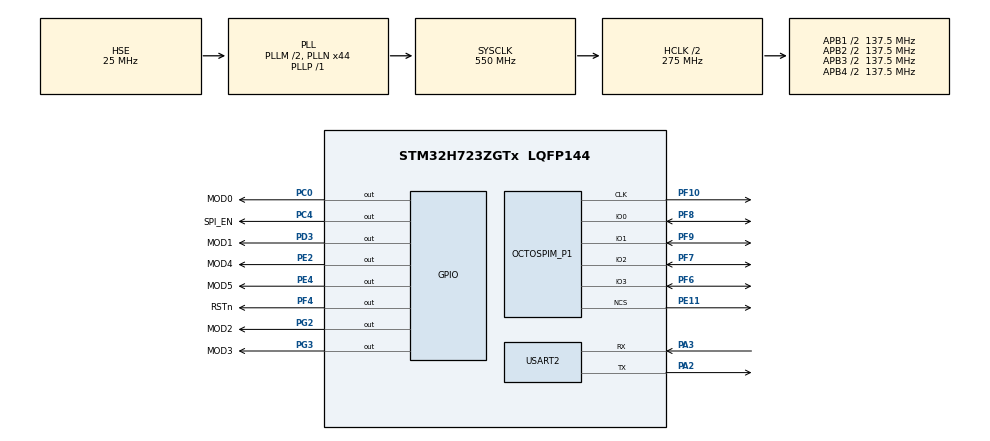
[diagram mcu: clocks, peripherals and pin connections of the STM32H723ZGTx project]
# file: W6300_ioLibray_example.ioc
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Mcu.Family=STM32H7
Mcu.Name=STM32H723ZGTx
Mcu.Package=LQFP144
Mdma.MDMA_Channel0.OCTOSPI1_FIFO_TH.0.BlockCount=0
Mdma.MDMA_Channel0.OCTOSPI1_FIFO_TH.0.BlockDataLength=0
Mdma.MDMA_Channel0.OCTOSPI1_FIFO_TH.0.BufferTransferLength=1
Mdma.MDMA_Channel0.OCTOSPI1_FIFO_TH.0.CircularMode=MDMA_LINEAR_LIST
Mdma.MDMA_Channel0.OCTOSPI1_FIFO_TH.0.DataAlignment=MDMA_DATAALIGN_PACKENABLE
Mdma.MDMA_Channel0.OCTOSPI1_FIFO_TH.0.DestBlockAddressOffset=0
Mdma.MDMA_Channel0.OCTOSPI1_FIFO_TH.0.DestBurst=MDMA_DEST_BURST_SINGLE
Mdma.MDMA_Channel0.OCTOSPI1_FIFO_TH.0.DestDataSize=MDMA_DEST_DATASIZE_BYTE
Mdma.MDMA_Channel0.OCTOSPI1_FIFO_TH.0.DestinationInc=MDMA_DEST_INC_BYTE
Mdma.MDMA_Channel0.OCTOSPI1_FIFO_TH.0.DstAddress=0
Mdma.MDMA_Channel0.OCTOSPI1_FIFO_TH.0.Endianness=MDMA_LITTLE_ENDIANNESS_PRESERVE
Mdma.MDMA_Channel0.OCTOSPI1_FIFO_TH.0.Instance=MDMA_Channel0
Mdma.MDMA_Channel0.OCTOSPI1_FIFO_TH.0.MaskAddress=0
Mdma.MDMA_Channel0.OCTOSPI1_FIFO_TH.0.MaskData=0
Mdma.MDMA_Channel0.OCTOSPI1_FIFO_TH.0.Priority=MDMA_PRIORITY_LOW
Mdma.MDMA_Channel0.OCTOSPI1_FIFO_TH.0.Rank=First
Mdma.MDMA_Channel0.OCTOSPI1_FIFO_TH.0.SourceBlockAddressOffset=0
Mdma.MDMA_Channel0.OCTOSPI1_FIFO_TH.0.SourceBurst=MDMA_SOURCE_BURST_SINGLE
Mdma.MDMA_Channel0.OCTOSPI1_FIFO_TH.0.SourceDataSize=MDMA_SRC_DATASIZE_BYTE
Mdma.MDMA_Channel0.OCTOSPI1_FIFO_TH.0.SourceInc=MDMA_SRC_INC_BYTE
Mdma.MDMA_Channel0.OCTOSPI1_FIFO_TH.0.SrcAddress=0
Mdma.MDMA_Channel0.OCTOSPI1_FIFO_TH.0.TransferTriggerMode=MDMA_BUFFER_TRANSFER
Mdma.MDMA_Channel0.Request0=OCTOSPI1_FIFO_TH
Mdma.MDMA_Channel0.RequestsNb=1
Mdma.RequestSet0=MDMA_Channel0
Mdma.RequestSetsNb=1
NVIC.MDMA_IRQn=true\:0\:0\:false\:false\:true\:false\:true\:true
NVIC.OCTOSPI1_IRQn=true\:0\:0\:false\:false\:true\:true\:true\:true
NVIC.PriorityGroup=NVIC_PRIORITYGROUP_4
NVIC.USART2_IRQn=true\:0\:0\:false\:false\:true\:true\:true\:true
OCTOSPI1.ClockPrescaler=2
OCTOSPI1.DeviceSize=17
PA13(JTMS/SWDIO).Mode=Serial_Wire
PA13(JTMS/SWDIO).Signal=DEBUG_JTMS-SWDIO
PA14(JTCK/SWCLK).Mode=Serial_Wire
PA14(JTCK/SWCLK).Signal=DEBUG_JTCK-SWCLK
PA2.Mode=Asynchronous
PA2.Signal=USART2_TX
PA3.Mode=Asynchronous
PA3.Signal=USART2_RX
PC0.GPIO_Label=MOD0
PC0.Signal=GPIO_Output
PC4.GPIO_Label=SPI_EN
PC4.Signal=GPIO_Output
PD3.GPIO_Label=MOD1
PD3.Signal=GPIO_Output
PE11.Mode=OCTOSPI1_Port1_NCS
PE11.Signal=OCTOSPIM_P1_NCS
PE2.GPIO_Label=MOD4
PE2.Signal=GPIO_Output
PE4.GPIO_Label=MOD5
PE4.Signal=GPIO_Output
PF10.Mode=O1_P1_CLK
PF10.Signal=OCTOSPIM_P1_CLK
PF4.GPIO_Label=RSTn
PF4.Signal=GPIO_Output
PF6.Mode=OCTOSPI1_IOL_Port1L
PF6.Signal=OCTOSPIM_P1_IO3
PF7.Mode=OCTOSPI1_IOL_Port1L
PF7.Signal=OCTOSPIM_P1_IO2
PF8.Mode=OCTOSPI1_IOL_Port1L
PF8.Signal=OCTOSPIM_P1_IO0
PF9.Mode=OCTOSPI1_IOL_Port1L
PF9.Signal=OCTOSPIM_P1_IO1
PG2.GPIO_Label=MOD2
PG2.Signal=GPIO_Output
PG3.GPIO_Label=MOD3
PG3.Signal=GPIO_Output
PH0-OSC_IN.Mode=HSE-External-Oscillator
PH0-OSC_IN.Signal=RCC_OSC_IN
PH1-OSC_OUT.Mode=HSE-External-Oscillator
PH1-OSC_OUT.Signal=RCC_OSC_OUT
ProjectManager.HeapSize=0x200
ProjectManager.StackSize=0x400
ProjectManager.TargetToolchain=STM32CubeIDE
RCC.ADCFreq_Value=150000000
RCC.APB1Freq_Value=137500000
RCC.APB2Freq_Value=137500000
RCC.APB3Freq_Value=137500000
RCC.APB4Freq_Value=137500000
RCC.CortexFreq_Value=550000000
RCC.D1PPRE=RCC_APB3_DIV2
RCC.D2PPRE1=RCC_APB1_DIV2
RCC.D2PPRE2=RCC_APB2_DIV2
RCC.D3PPRE=RCC_APB4_DIV2
RCC.DIVM1=2
RCC.DIVM2=5
RCC.DIVM3=5
RCC.DIVN1=44
RCC.DIVN2=60
RCC.DIVN3=60
RCC.DIVP1=1
RCC.DIVQ2=5
RCC.DIVR2=10
RCC.HCLKFreq_Value=275000000
RCC.HPRE=RCC_HCLK_DIV2
RCC.PLLSourceVirtual=RCC_PLLSOURCE_HSE
RCC.QSPICLockSelection=RCC_OSPICLKSOURCE_PLL2
RCC.SYSCLKFreq_VALUE=550000000
RCC.SYSCLKSource=RCC_SYSCLKSOURCE_PLLCLK
RCC.USART234578CLockSelection=RCC_USART234578CLKSOURCE_PLL2
RCC.USBFreq_Value=275000000
USART2.VirtualMode-Asynchronous=VM_ASYNC
VP_OCTOSPI1_VS_quad.Mode=quad_mode
board=custom

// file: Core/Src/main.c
/* USER CODE BEGIN Header */
/**
  ******************************************************************************
  * @file           : main.c
  * @brief          : Main program body
  ******************************************************************************
  * @attention
  *
  * Copyright (c) 2024 STMicroelectronics.
  * All rights reserved.
  *
  * This software is licensed under terms that can be found in the LICENSE file
  * in the root directory of this software component.
  * If no LICENSE file comes with this software, it is provided AS-IS.
  *
  ******************************************************************************
  */
/* USER CODE END Header */
#include "main.h"

/* USER CODE BEGIN Includes */
#include "stdio.h"
#include "string.h"
#include "stdlib.h"
#include "loopback.h"
#include "wizchip_conf.h"

/* USER CODE END Includes */

/* USER CODE BEGIN PM */
OSPI_RegularCmdTypeDef com;
/* USER CODE END PM */

OSPI_HandleTypeDef hospi1;
MDMA_HandleTypeDef hmdma_octospi1_fifo_th;

UART_HandleTypeDef huart2;

/* USER CODE BEGIN PV */
uint8_t W6300_mode = 0x00;//0; //W6100 >> 0xFF
wiz_NetInfo gWIZNETINFO = {.mac = {0x00, 0x08, 0xdc, 0x12, 0x34, 0x45},
                           .ip = {192, 168, 15, 100},
                           .sn = {255, 255, 255, 0},
                           .gw = {192, 168, 15, 1},
                           .dns = {8, 8, 8, 8},
                           .lla = {0xfe, 0x80, 0x00, 0x00,
                                   0x00, 0x00, 0x00, 0x00,
                                   0x02, 0x08, 0xdc, 0xff,
                                   0xfe, 0xff, 0xff, 0xff},
                           .gua = {0x20, 0x01, 0x02, 0xb8,
                                   0x00, 0x10, 0x00, 0x01,
                                   0x02, 0x08, 0xdc, 0xff,
                                   0xfe, 0xff, 0xff, 0xff},
                           .sn6 = {0xff, 0xff, 0xff, 0xff,
                                   0xff, 0xff, 0xff, 0xff,
                                   0x00, 0x00, 0x00, 0x00,
                                   0x00, 0x00, 0x00, 0x00},
                           .gw6 = {0xfe, 0x80, 0x00, 0x00,
                                   0x00, 0x00, 0x00, 0x00,
                                   0x02, 0x00, 0x87, 0xff,
                                   0xfe, 0x08, 0x4c, 0x81}};

uint8_t WIZ_Dest_IP[4] = {192, 168, 15, 2};                  //DST_IP Address

uint8_t DestIP6_L[16] = {0xfe,0x80, 0x00,0x00,
						  0x00,0x00, 0x00,0x00,
                          0x31,0x71,0x98,0x05,
                          0x70,0x24,0x4b,0xb1
						};

uint8_t DestIP6_G[16] = {0x20,0x01,0x02,0xb8,
                          0x00,0x10,0x00,0x01,
                          0x31,0x71,0x98,0x05,
                          0x70,0x24,0x4b,0xb1
                         };

uint8_t Router_IP[16]= {0xff,0x02,0x00,0x00,
                          0x00,0x00,0x00,0x00,
                          0x00,0x00,0x00,0x00,
                          0x00,0x00,0x00,0x02
                         };
uint8_t data_buff[2048];
/* USER CODE END PV */

void SystemClock_Config(void);
void PeriphCommonClock_Config(void);
static void MX_GPIO_Init(void);
static void MX_MDMA_Init(void);
static void MX_OCTOSPI1_Init(void);
static void MX_USART2_UART_Init(void);
/* USER CODE BEGIN PFP */
uint8_t rxData;
uint8_t rx_buffer[2048]= {0,};
int rx_index = 0;
uint8_t rx_flag =0;
uint8_t qspi_flag_tx = 0, qspi_flag_rx = 0;

int _write(int fd, char *str, int len)
{
  for (int i = 0; i < len; i++)
  {
    HAL_UART_Transmit(&huart2, (uint8_t *)&str[i], 1, 0xFFFF);
  }
  return len;
}

void HAL_UART_RxCpltCallback(UART_HandleTypeDef *huart)
{
#if 0
  if (is_testing == 1)
  {
    PRINT_DBG("testing...\r\n");
  }
  else // is_testing == 0
  {
    if (cmd_mode == 0)
    {
      HAL_UART_Transmit(&huart2, &rxData, 1, 1000);
    }
    if (rxData == '\n')
    {
      if (rx_buffer[rx_index - 1] == '\r')
      {
        rx_index--;
        rx_flag = 1;
        rx_buffer[rx_index] = 0;
      }
      else
      {
        rx_index = 0;
        HAL_UART_Transmit(&huart2, "not support format\r\n", 20, 1000);
      }
    }
    else if (rxData == 0x08) // back space
    {
      rx_index--;
    }
    else
    {
      rx_buffer[rx_index++] = rxData;
    }
  }

#endif
  HAL_UART_Receive_IT(&huart2, &rxData, 1);
}
void HAL_OSPI_RxCpltCallback(OSPI_HandleTypeDef *hospi)
{
	qspi_flag_rx = 0;
}
void HAL_OSPI_TxCpltCallback(OSPI_HandleTypeDef *hospi)
{
	qspi_flag_tx = 0;
}
uint8_t qspi_read_buf(uint8_t op_code, uint32_t AddrSel, uint8_t *pbuf, uint16_t len)
{
    uint32_t OSPI_status = 0;
    uint8_t ret = 0;
	switch(W6300_mode)
	{
		case 0x00:	//single
			com.AddressMode = HAL_OSPI_ADDRESS_1_LINE;
			com.DataMode = HAL_OSPI_DATA_1_LINE;//HAL_OSPI_DATA_4_LINES;

			com.DummyCycles = 8;
			break;
		case 0x01:	//dual
			com.AddressMode = HAL_OSPI_ADDRESS_2_LINES;
			com.DataMode = HAL_OSPI_DATA_2_LINES;
			//com.InstructionMode = HAL_OSPI_INSTRUCTION_2_LINES;//QSPI_INSTRUCTION_1_LINE; // QSPI_INSTRUCTION_...
			com.DummyCycles = 4;
			break;
		case 0x02:	//quad
			com.AddressMode = HAL_OSPI_ADDRESS_4_LINES;
			com.DataMode = HAL_OSPI_DATA_4_LINES;
			//com.InstructionMode = HAL_OSPI_INSTRUCTION_4_LINES;//QSPI_INSTRUCTION_1_LINE; // QSPI_INSTRUCTION_...
			com.DummyCycles = 2;
			break;
        case 0x04:
            printf("not Qspi mode bus mode \r\n");
            return 6;
            break;
		default :
			com.AddressMode = HAL_OSPI_ADDRESS_1_LINE;
			com.DataMode = HAL_OSPI_DATA_1_LINE;//HAL_OSPI_DATA_4_LINES;
			//com.InstructionMode = HAL_OSPI_INSTRUCTION_1_LINE;//HAL_OSPI_INSTRUCTION_4_LINES;//QSPI_INSTRUCTION_1_LINE; // QSPI_INSTRUCTION_...
			com.DummyCycles = 0;
			break;
	}
	com.InstructionMode = HAL_OSPI_INSTRUCTION_1_LINE;//HAL_OSPI_INSTRUCTION_4_LINES;//QSPI_INSTRUCTION_1_LINE; // QSPI_INSTRUCTION_...

	com.Instruction = op_code;//0xAB;    // Command
	com.AddressSize = HAL_OSPI_ADDRESS_16_BITS;
	//com.AddressMode = HAL_OSPI_ADDRESS_1_LINE;//HAL_OSPI_ADDRESS_4_LINES;//QSPI_ADDRESS_1_LINE;
	com.Address = AddrSel;//0x00000000;

	com.AlternateBytesMode = HAL_OSPI_ALTERNATE_BYTES_NONE;
	com.AlternateBytes = HAL_OSPI_ALTERNATE_BYTES_NONE;
	com.AlternateBytesSize = HAL_OSPI_ALTERNATE_BYTES_NONE;

	//com.DataMode = HAL_OSPI_DATA_1_LINE;//HAL_OSPI_DATA_4_LINES;
	//com.NbData = 1;

	com.DataDtrMode = HAL_OSPI_DATA_DTR_DISABLE;
	//com.DdrHoldHalfCycle = QSPI_DDR_HHC_ANALOG_DELAY;
	com.SIOOMode = HAL_OSPI_SIOO_INST_EVERY_CMD;

	com.NbData = len;
  if ((ret = HAL_OSPI_Command(&hospi1, &com, 10)) != HAL_OK)
  {
		printf("[%s > %s : %d]Cmd Error ret:%02X st:%X\r\n",__FILE__, __FUNCTION__, __LINE__ , ret, (uint16_t)OSPI_status);
		return 4;
	}
	qspi_flag_rx = 1;
	if ((ret = HAL_OSPI_Receive_DMA(&hospi1, pbuf)) != HAL_OK)
	{
		printf("[%s > %s : %d]Recv Error ret:%02X st:%X\r\n",__FILE__, __FUNCTION__, __LINE__, ret, (uint16_t)OSPI_status);
		return 5;
	}
#if 1
	while(qspi_flag_rx)
	{
		//count and return
	}
#endif
#if 0
    while((OSPI_status=HAL_OSPI_GetState(&hospi1)) > 4)
    {
        hospi1.Instance->FCR = OSPI_status;
    	//hospi1.State = 0;
    }
#endif
	return 0;
}
uint8_t qspi_write_buf(uint8_t op_code, uint32_t AddrSel, uint8_t *pbuf, uint16_t len)
{
    uint32_t OSPI_status = 0;
    uint8_t ret = 0;
	switch(W6300_mode)
	{
		case 0x00:	//single
			com.AddressMode = HAL_OSPI_ADDRESS_1_LINE;
			com.DataMode = HAL_OSPI_DATA_1_LINE;//HAL_OSPI_DATA_4_LINES;
			//com.InstructionMode = HAL_OSPI_INSTRUCTION_1_LINE;//HAL_OSPI_INSTRUCTION_4_LINES;//QSPI_INSTRUCTION_1_LINE; // QSPI_INSTRUCTION_...
			com.DummyCycles = 8;
			break;
		case 0x01:	//dual
			com.AddressMode = HAL_OSPI_ADDRESS_2_LINES;
			com.DataMode = HAL_OSPI_DATA_2_LINES;
			//com.InstructionMode = HAL_OSPI_INSTRUCTION_2_LINES;//QSPI_INSTRUCTION_1_LINE; // QSPI_INSTRUCTION_...
			com.DummyCycles = 4;
			break;
		case 0x02:	//quad
			com.AddressMode = HAL_OSPI_ADDRESS_4_LINES;
			com.DataMode = HAL_OSPI_DATA_4_LINES;
			//com.InstructionMode = HAL_OSPI_INSTRUCTION_4_LINES;//QSPI_INSTRUCTION_1_LINE; // QSPI_INSTRUCTION_...
			com.DummyCycles = 2;
			break;
        case 0x04:
            printf("not Qspi mode bus mode \r\n");
            return 6;
            break;
		default :
			com.AddressMode = HAL_OSPI_ADDRESS_1_LINE;
			com.DataMode = HAL_OSPI_DATA_1_LINE;//HAL_OSPI_DATA_4_LINES;
			//com.InstructionMode = HAL_OSPI_INSTRUCTION_1_LINE;//HAL_OSPI_INSTRUCTION_4_LINES;//QSPI_INSTRUCTION_1_LINE; // QSPI_INSTRUCTION_...
			com.DummyCycles = 0;
			break;
	}
	com.InstructionMode = HAL_OSPI_INSTRUCTION_1_LINE;//HAL_OSPI_INSTRUCTION_4_LINES;//QSPI_INSTRUCTION_1_LINE; // QSPI_INSTRUCTION_...
	com.Instruction = op_code;//0xAB;    // Command
	com.AddressSize = HAL_OSPI_ADDRESS_16_BITS;
	//com.AddressMode = HAL_OSPI_ADDRESS_1_LINE;//HAL_OSPI_ADDRESS_4_LINES;//QSPI_ADDRESS_1_LINE;
	com.Address = AddrSel;//0x00000000;

	com.AlternateBytesMode = HAL_OSPI_ALTERNATE_BYTES_NONE;
	com.AlternateBytes = HAL_OSPI_ALTERNATE_BYTES_NONE;
	com.AlternateBytesSize = HAL_OSPI_ALTERNATE_BYTES_NONE;

	//com.DataMode = HAL_OSPI_DATA_1_LINE;//HAL_OSPI_DATA_4_LINES;
	//com.NbData = 1;

	com.DataDtrMode = HAL_OSPI_DATA_DTR_DISABLE;
	//com.DdrHoldHalfCycle = QSPI_DDR_HHC_ANALOG_DELAY;
	com.SIOOMode = HAL_OSPI_SIOO_INST_EVERY_CMD;

	com.NbData = len;
	//if ((ret = HAL_OSPI_Command(&hospi1, &com, HAL_OSPI_TIMEOUT_DEFAULT_VALUE)) != HAL_OK)
  if ((ret = HAL_OSPI_Command(&hospi1, &com, 10)) != HAL_OK)
	{
		printf("[%s > %s : %d]CMD Error ret:%02X st:%X\r\n",__FILE__, __FUNCTION__, __LINE__, ret, (uint16_t)OSPI_status);
		return 4;
	}
	qspi_flag_tx = 1;
	if ((ret = HAL_OSPI_Transmit_DMA(&hospi1, pbuf)) != HAL_OK)
	{
		printf("[%s > %s : %d]Send Error ret:%02X, st:%X\r\n",__FILE__, __FUNCTION__, __LINE__, ret, (uint16_t)OSPI_status);
		return 5;
	}
#if 1
	while(qspi_flag_tx)
	{
		//count and return
	}
#endif
#if 0
	while((OSPI_status=HAL_OSPI_GetState(&hospi1)) > 4)
    {
        hospi1.Instance->FCR = OSPI_status;
		//hospi1.State = 0;
    }
#endif
	return 0;
}
void W6300Initialze(void)
{
	//W6100Reset();

#if _WIZCHIP_IO_MODE_ & _WIZCHIP_IO_MODE_SPI_QSPI_

   reg_wizchip_qspi_cbfunc(qspi_read_buf, qspi_write_buf);

#elif _WIZCHIP_IO_MODE_ & _WIZCHIP_IO_MODE_SPI_
/* SPI method callback registration */
	#if defined SPI_DMA
	reg_wizchip_spi_cbfunc(W6100SpiReadByte, W6100SpiWriteByte, W6100SpiReadBurst, W6100SpiWriteBurst);
	#else
	reg_wizchip_spi_cbfunc(W6100SpiReadByte, W6100SpiWriteByte, 0, 0);
	#endif
	/* CS function register */
	reg_wizchip_cs_cbfunc(W6100CsEnable, W6100CsDisable);
#else
/* Indirect bus method callback registration */
	#if defined BUS_DMA
	reg_wizchip_bus_cbfunc(W6100BusReadByte, W6100BusWriteByte, W6100BusReadBurst, W6100BusWriteBurst);
	#else
	reg_wizchip_bus_cbfunc(W6100BusReadByte, W6100BusWriteByte, 0, 0);
	#endif
#endif
	uint8_t temp;
	//unsigned char W6100_AdrSet[2][8] = {{2, 2, 2, 2, 2, 2, 2, 2}, {2, 2, 2, 2, 2, 2, 2, 2}};
   // unsigned char W6100_AdrSet[2][8] = {{4, 4, 4, 4, 4, 4, 4, 4}, {4, 4, 4, 4, 4, 4, 4, 4}};
	unsigned char W6100_AdrSet[2][8] = {{0, 8, 0, 0, 0, 0, 0, 0}, {0, 8, 0, 0, 0, 0, 0, 0}};
/*	do
	{
		if (ctlwizchip(CW_GET_PHYLINK, (void *)&temp) == -1)
		{
			printf("Unknown PHY link status.\r\n");
		}
	} while (temp == PHY_LINK_OFF);
	printf("PHY OK.\r\n");
*/
	temp = IK_DEST_UNREACH;

	if (ctlwizchip(CW_INIT_WIZCHIP, (void *)W6100_AdrSet) == -1)
	{
		printf("W6300 initialized fail.\r\n");
	}

	if (ctlwizchip(CW_SET_INTRMASK, &temp) == -1)
	{
		printf("W6300 interrupt\r\n");
	}
	//printf("interrupt mask: %02x\r\n",getIMR());
}
uint32_t get_time(void)
{
    return HAL_GetTick();
}
void print_network_information(void);
void FPGA_Reset(void);
/* USER CODE END PFP */

int main(void)
{
  /* USER CODE BEGIN 1 */
  uint16_t i = 0;
  uint8_t syslock = SYS_NET_LOCK;
  uint8_t tmp = 0;
  PLL2_ClocksTypeDef PLL2_Clk_data;
  char mode_char[4][5]={"Sing","Dual","Quad"};
  /* USER CODE END 1 */

  /* MCU Configuration--------------------------------------------------------*/

  /* Reset of all peripherals, Initializes the Flash interface and the Systick. */
  HAL_Init();

  /* Configure the system clock */
  SystemClock_Config();

/* Configure the peripherals common clocks */
  PeriphCommonClock_Config();

  /* Initialize all configured peripherals */
  MX_GPIO_Init();
  MX_MDMA_Init();
  MX_OCTOSPI1_Init();
  MX_USART2_UART_Init();
  /* USER CODE BEGIN 2 */
  printf("W6300 loop back test \r\n");
  printf("Compile %s - %s \r\n", __DATE__, __TIME__);
  HAL_UART_Receive_IT(&huart2, &rxData, 1);
  HAL_RCCEx_GetPLL2ClockFreq(&PLL2_Clk_data);
  printf("SET PLL2 P:%ld, Q:%ld, R:%ld \r\n", PLL2_Clk_data.PLL2_P_Frequency, PLL2_Clk_data.PLL2_Q_Frequency, PLL2_Clk_data.PLL2_R_Frequency);
  printf("QSPI CLK %d Mhz \r\n", (uint16_t)(PLL2_Clk_data.PLL2_R_Frequency / hospi1.Init.ClockPrescaler / 1000000));
#if 1
#if (_WIZCHIP_IO_MODE_ == _WIZCHIP_IO_MODE_BUS_INDIR_)
  HAL_GPIO_WritePin(MOD0_GPIO_Port, MOD0_Pin, GPIO_PIN_SET);
#else
  HAL_GPIO_WritePin(MOD0_GPIO_Port, MOD0_Pin, GPIO_PIN_RESET);
#endif
  HAL_GPIO_WritePin(MOD1_GPIO_Port, MOD1_Pin, GPIO_PIN_RESET);
  HAL_GPIO_WritePin(MOD2_GPIO_Port, MOD2_Pin, GPIO_PIN_RESET);
  HAL_GPIO_WritePin(MOD3_GPIO_Port, MOD3_Pin, GPIO_PIN_RESET);
  HAL_GPIO_WritePin(MOD4_GPIO_Port, MOD4_Pin, GPIO_PIN_RESET);
  HAL_GPIO_WritePin(MOD5_GPIO_Port, MOD5_Pin, GPIO_PIN_RESET);
#endif

  HAL_GPIO_WritePin(RSTn_GPIO_Port, RSTn_Pin, GPIO_PIN_RESET);
  HAL_Delay(500);
  HAL_GPIO_WritePin(RSTn_GPIO_Port, RSTn_Pin, GPIO_PIN_SET);
  HAL_Delay(500);
#if 1
  HAL_GPIO_WritePin(SPI_EN_GPIO_Port, SPI_EN_Pin, GPIO_PIN_SET);
  HAL_Delay(500);
  HAL_GPIO_WritePin(SPI_EN_GPIO_Port, SPI_EN_Pin, GPIO_PIN_RESET);
  HAL_Delay(500);
  HAL_Delay(500);
#endif
  W6300Initialze();
  ctlwizchip(CW_SYS_UNLOCK, &syslock);
  ctlnetwork(CN_SET_NETINFO, &gWIZNETINFO);
  printf("VERSION(%04x) = %04x \r\n", _VER_, getVER());
  for (i = 0; i < 8; i++)
  {
    printf("%d : max size = %d k \r\n", i, getSn_TxMAX(i));
  }
  print_network_information();
  /* USER CODE END 2 */

  /* Infinite loop */
  /* USER CODE BEGIN WHILE */
  while (1)
  {
	loopback_tcps(1, data_buff, 5000, AS_IPV4);
    /* USER CODE END WHILE */

  }
}

void SystemClock_Config(void)
{
  RCC_OscInitTypeDef RCC_OscInitStruct = {0};
  RCC_ClkInitTypeDef RCC_ClkInitStruct = {0};

  /** Supply configuration update enable
  */
  HAL_PWREx_ConfigSupply(PWR_LDO_SUPPLY);

  /** Configure the main internal regulator output voltage
  */
  __HAL_PWR_VOLTAGESCALING_CONFIG(PWR_REGULATOR_VOLTAGE_SCALE0);

  while(!__HAL_PWR_GET_FLAG(PWR_FLAG_VOSRDY)) {}

  /** Initializes the RCC Oscillators according to the specified parameters
  * in the RCC_OscInitTypeDef structure.
  */
  RCC_OscInitStruct.OscillatorType = RCC_OSCILLATORTYPE_HSE;
  RCC_OscInitStruct.HSEState = RCC_HSE_ON;
  RCC_OscInitStruct.PLL.PLLState = RCC_PLL_ON;
  RCC_OscInitStruct.PLL.PLLSource = RCC_PLLSOURCE_HSE;
  RCC_OscInitStruct.PLL.PLLM = 2;
  RCC_OscInitStruct.PLL.PLLN = 44;
  RCC_OscInitStruct.PLL.PLLP = 1;
  RCC_OscInitStruct.PLL.PLLQ = 2;
  RCC_OscInitStruct.PLL.PLLR = 2;
  RCC_OscInitStruct.PLL.PLLRGE = RCC_PLL1VCIRANGE_3;
  RCC_OscInitStruct.PLL.PLLVCOSEL = RCC_PLL1VCOWIDE;
  RCC_OscInitStruct.PLL.PLLFRACN = 0;
  if (HAL_RCC_OscConfig(&RCC_OscInitStruct) != HAL_OK)
  {
    Error_Handler();
  }

  /** Initializes the CPU, AHB and APB buses clocks
  */
  RCC_ClkInitStruct.ClockType = RCC_CLOCKTYPE_HCLK|RCC_CLOCKTYPE_SYSCLK
                              |RCC_CLOCKTYPE_PCLK1|RCC_CLOCKTYPE_PCLK2
                              |RCC_CLOCKTYPE_D3PCLK1|RCC_CLOCKTYPE_D1PCLK1;
  RCC_ClkInitStruct.SYSCLKSource = RCC_SYSCLKSOURCE_PLLCLK;
  RCC_ClkInitStruct.SYSCLKDivider = RCC_SYSCLK_DIV1;
  RCC_ClkInitStruct.AHBCLKDivider = RCC_HCLK_DIV2;
  RCC_ClkInitStruct.APB3CLKDivider = RCC_APB3_DIV2;
  RCC_ClkInitStruct.APB1CLKDivider = RCC_APB1_DIV2;
  RCC_ClkInitStruct.APB2CLKDivider = RCC_APB2_DIV2;
  RCC_ClkInitStruct.APB4CLKDivider = RCC_APB4_DIV2;

  if (HAL_RCC_ClockConfig(&RCC_ClkInitStruct, FLASH_LATENCY_3) != HAL_OK)
  {
    Error_Handler();
  }
}

void PeriphCommonClock_Config(void)
{
  RCC_PeriphCLKInitTypeDef PeriphClkInitStruct = {0};

  /** Initializes the peripherals clock
  */
  PeriphClkInitStruct.PeriphClockSelection = RCC_PERIPHCLK_OSPI|RCC_PERIPHCLK_USART2;
  PeriphClkInitStruct.PLL2.PLL2M = 5;
  PeriphClkInitStruct.PLL2.PLL2N = 60;
  PeriphClkInitStruct.PLL2.PLL2P = 2;
  PeriphClkInitStruct.PLL2.PLL2Q = 5;
  PeriphClkInitStruct.PLL2.PLL2R = 10;
  PeriphClkInitStruct.PLL2.PLL2RGE = RCC_PLL2VCIRANGE_2;
  PeriphClkInitStruct.PLL2.PLL2VCOSEL = RCC_PLL2VCOWIDE;
  PeriphClkInitStruct.PLL2.PLL2FRACN = 0;
  PeriphClkInitStruct.OspiClockSelection = RCC_OSPICLKSOURCE_PLL2;
  PeriphClkInitStruct.Usart234578ClockSelection = RCC_USART234578CLKSOURCE_PLL2;
  if (HAL_RCCEx_PeriphCLKConfig(&PeriphClkInitStruct) != HAL_OK)
  {
    Error_Handler();
  }
}

static void MX_OCTOSPI1_Init(void)
{

  OSPIM_CfgTypeDef sOspiManagerCfg = {0};

  /* OCTOSPI1 parameter configuration*/
  hospi1.Instance = OCTOSPI1;
  hospi1.Init.FifoThreshold = 1;
  hospi1.Init.DualQuad = HAL_OSPI_DUALQUAD_DISABLE;
  hospi1.Init.MemoryType = HAL_OSPI_MEMTYPE_MICRON;
  hospi1.Init.DeviceSize = 17;
  hospi1.Init.ChipSelectHighTime = 1;
  hospi1.Init.FreeRunningClock = HAL_OSPI_FREERUNCLK_DISABLE;
  hospi1.Init.ClockMode = HAL_OSPI_CLOCK_MODE_0;
  hospi1.Init.WrapSize = HAL_OSPI_WRAP_NOT_SUPPORTED;
  hospi1.Init.ClockPrescaler = 2;
  hospi1.Init.SampleShifting = HAL_OSPI_SAMPLE_SHIFTING_NONE;
  hospi1.Init.DelayHoldQuarterCycle = HAL_OSPI_DHQC_DISABLE;
  hospi1.Init.ChipSelectBoundary = 0;
  hospi1.Init.DelayBlockBypass = HAL_OSPI_DELAY_BLOCK_BYPASSED;
  hospi1.Init.MaxTran = 0;
  hospi1.Init.Refresh = 0;
  if (HAL_OSPI_Init(&hospi1) != HAL_OK)
  {
    Error_Handler();
  }
  sOspiManagerCfg.ClkPort = 1;
  sOspiManagerCfg.NCSPort = 1;
  sOspiManagerCfg.IOLowPort = HAL_OSPIM_IOPORT_1_LOW;
  if (HAL_OSPIM_Config(&hospi1, &sOspiManagerCfg, HAL_OSPI_TIMEOUT_DEFAULT_VALUE) != HAL_OK)
  {
    Error_Handler();
  }

}

static void MX_USART2_UART_Init(void)
{

  huart2.Instance = USART2;
  huart2.Init.BaudRate = 115200;
  huart2.Init.WordLength = UART_WORDLENGTH_8B;
  huart2.Init.StopBits = UART_STOPBITS_1;
  huart2.Init.Parity = UART_PARITY_NONE;
  huart2.Init.Mode = UART_MODE_TX_RX;
  huart2.Init.HwFlowCtl = UART_HWCONTROL_NONE;
  huart2.Init.OverSampling = UART_OVERSAMPLING_16;
  huart2.Init.OneBitSampling = UART_ONE_BIT_SAMPLE_DISABLE;
  huart2.Init.ClockPrescaler = UART_PRESCALER_DIV1;
  huart2.AdvancedInit.AdvFeatureInit = UART_ADVFEATURE_NO_INIT;
  if (HAL_UART_Init(&huart2) != HAL_OK)
  {
    Error_Handler();
  }
  if (HAL_UARTEx_SetTxFifoThreshold(&huart2, UART_TXFIFO_THRESHOLD_1_8) != HAL_OK)
  {
    Error_Handler();
  }
  if (HAL_UARTEx_SetRxFifoThreshold(&huart2, UART_RXFIFO_THRESHOLD_1_8) != HAL_OK)
  {
    Error_Handler();
  }
  if (HAL_UARTEx_DisableFifoMode(&huart2) != HAL_OK)
  {
    Error_Handler();
  }

}

/**
  * Enable MDMA controller clock
  */
static void MX_MDMA_Init(void)
{

  /* MDMA controller clock enable */
  __HAL_RCC_MDMA_CLK_ENABLE();
  /* Local variables */

  /* MDMA interrupt initialization */
  /* MDMA_IRQn interrupt configuration */
  HAL_NVIC_SetPriority(MDMA_IRQn, 0, 0);
  HAL_NVIC_EnableIRQ(MDMA_IRQn);

}

static void MX_GPIO_Init(void)
{
  GPIO_InitTypeDef GPIO_InitStruct = {0};

  /* GPIO Ports Clock Enable */
  __HAL_RCC_GPIOE_CLK_ENABLE();
  __HAL_RCC_GPIOF_CLK_ENABLE();
  __HAL_RCC_GPIOH_CLK_ENABLE();
  __HAL_RCC_GPIOC_CLK_ENABLE();
  __HAL_RCC_GPIOA_CLK_ENABLE();
  __HAL_RCC_GPIOG_CLK_ENABLE();
  __HAL_RCC_GPIOD_CLK_ENABLE();

  /*Configure GPIO pin Output Level */
  HAL_GPIO_WritePin(GPIOE, MOD4_Pin|MOD5_Pin, GPIO_PIN_RESET);

  /*Configure GPIO pin Output Level */
  HAL_GPIO_WritePin(RSTn_GPIO_Port, RSTn_Pin, GPIO_PIN_RESET);

  /*Configure GPIO pin Output Level */
  HAL_GPIO_WritePin(GPIOC, MOD0_Pin|SPI_EN_Pin, GPIO_PIN_RESET);

  /*Configure GPIO pin Output Level */
  HAL_GPIO_WritePin(GPIOG, MOD2_Pin|MOD3_Pin, GPIO_PIN_RESET);

  /*Configure GPIO pin Output Level */
  HAL_GPIO_WritePin(MOD1_GPIO_Port, MOD1_Pin, GPIO_PIN_RESET);

  /*Configure GPIO pins : MOD4_Pin MOD5_Pin */
  GPIO_InitStruct.Pin = MOD4_Pin|MOD5_Pin;
  GPIO_InitStruct.Mode = GPIO_MODE_OUTPUT_PP;
  GPIO_InitStruct.Pull = GPIO_NOPULL;
  GPIO_InitStruct.Speed = GPIO_SPEED_FREQ_LOW;
  HAL_GPIO_Init(GPIOE, &GPIO_InitStruct);

  /*Configure GPIO pin : RSTn_Pin */
  GPIO_InitStruct.Pin = RSTn_Pin;
  GPIO_InitStruct.Mode = GPIO_MODE_OUTPUT_PP;
  GPIO_InitStruct.Pull = GPIO_NOPULL;
  GPIO_InitStruct.Speed = GPIO_SPEED_FREQ_LOW;
  HAL_GPIO_Init(RSTn_GPIO_Port, &GPIO_InitStruct);

  /*Configure GPIO pins : MOD0_Pin SPI_EN_Pin */
  GPIO_InitStruct.Pin = MOD0_Pin|SPI_EN_Pin;
  GPIO_InitStruct.Mode = GPIO_MODE_OUTPUT_PP;
  GPIO_InitStruct.Pull = GPIO_NOPULL;
  GPIO_InitStruct.Speed = GPIO_SPEED_FREQ_LOW;
  HAL_GPIO_Init(GPIOC, &GPIO_InitStruct);

  /*Configure GPIO pins : MOD2_Pin MOD3_Pin */
  GPIO_InitStruct.Pin = MOD2_Pin|MOD3_Pin;
  GPIO_InitStruct.Mode = GPIO_MODE_OUTPUT_PP;
  GPIO_InitStruct.Pull = GPIO_NOPULL;
  GPIO_InitStruct.Speed = GPIO_SPEED_FREQ_LOW;
  HAL_GPIO_Init(GPIOG, &GPIO_InitStruct);

  /*Configure GPIO pin : MOD1_Pin */
  GPIO_InitStruct.Pin = MOD1_Pin;
  GPIO_InitStruct.Mode = GPIO_MODE_OUTPUT_PP;
  GPIO_InitStruct.Pull = GPIO_NOPULL;
  GPIO_InitStruct.Speed = GPIO_SPEED_FREQ_LOW;
  HAL_GPIO_Init(MOD1_GPIO_Port, &GPIO_InitStruct);

}

/* USER CODE BEGIN 4 */
void print_network_information(void)
{
	wiz_NetInfo gWIZNETINFO1;
#if 0
	wizchip_getnetinfo(&gWIZNETINFO);
	printf("Mac address: %02x:%02x:%02x:%02x:%02x:%02x\r\n",gWIZNETINFO.mac[0],gWIZNETINFO.mac[1],gWIZNETINFO.mac[2],gWIZNETINFO.mac[3],gWIZNETINFO.mac[4],gWIZNETINFO.mac[5]);
	printf("IP address : %d.%d.%d.%d\r\n",gWIZNETINFO.ip[0],gWIZNETINFO.ip[1],gWIZNETINFO.ip[2],gWIZNETINFO.ip[3]);
	printf("SN Mask	   : %d.%d.%d.%d\r\n",gWIZNETINFO.sn[0],gWIZNETINFO.sn[1],gWIZNETINFO.sn[2],gWIZNETINFO.sn[3]);
	printf("Gate way   : %d.%d.%d.%d\r\n",gWIZNETINFO.gw[0],gWIZNETINFO.gw[1],gWIZNETINFO.gw[2],gWIZNETINFO.gw[3]);
	printf("DNS Server : %d.%d.%d.%d\r\n",gWIZNETINFO.dns[0],gWIZNETINFO.dns[1],gWIZNETINFO.dns[2],gWIZNETINFO.dns[3]);
	printf("LLA  : %.2X%.2X:%.2X%.2X:%.2X%.2X:%.2X%.2X:%.2X%.2X:%.2X%.2X:%.2X%.2X:%.2X%.2X\r\n",gWIZNETINFO.lla[0],gWIZNETINFO.lla[1],gWIZNETINFO.lla[2],gWIZNETINFO.lla[3],\
									gWIZNETINFO.lla[4],gWIZNETINFO.lla[5],gWIZNETINFO.lla[6],gWIZNETINFO.lla[7],\
									gWIZNETINFO.lla[8],gWIZNETINFO.lla[9],gWIZNETINFO.lla[10],gWIZNETINFO.lla[11],\
									gWIZNETINFO.lla[12],gWIZNETINFO.lla[13],gWIZNETINFO.lla[14],gWIZNETINFO.lla[15]);
	printf("GUA  : %.2X%.2X:%.2X%.2X:%.2X%.2X:%.2X%.2X:%.2X%.2X:%.2X%.2X:%.2X%.2X:%.2X%.2X\r\n",gWIZNETINFO.gua[0],gWIZNETINFO.gua[1],gWIZNETINFO.gua[2],gWIZNETINFO.gua[3],\
									gWIZNETINFO.gua[4],gWIZNETINFO.gua[5],gWIZNETINFO.gua[6],gWIZNETINFO.gua[7],\
									gWIZNETINFO.gua[8],gWIZNETINFO.gua[9],gWIZNETINFO.gua[10],gWIZNETINFO.gua[11],\
									gWIZNETINFO.gua[12],gWIZNETINFO.gua[13],gWIZNETINFO.gua[14],gWIZNETINFO.gua[15]);
	printf("SN6  : %.2X%.2X:%.2X%.2X:%.2X%.2X:%.2X%.2X:%.2X%.2X:%.2X%.2X:%.2X%.2X:%.2X%.2X\r\n",gWIZNETINFO.sn6[0],gWIZNETINFO.sn6[1],gWIZNETINFO.sn6[2],gWIZNETINFO.sn6[3],\
									gWIZNETINFO.sn6[4],gWIZNETINFO.sn6[5],gWIZNETINFO.sn6[6],gWIZNETINFO.sn6[7],\
									gWIZNETINFO.sn6[8],gWIZNETINFO.sn6[9],gWIZNETINFO.sn6[10],gWIZNETINFO.sn6[11],\
									gWIZNETINFO.sn6[12],gWIZNETINFO.sn6[13],gWIZNETINFO.sn6[14],gWIZNETINFO.sn6[15]);
	printf("GW6  : %.2X%.2X:%.2X%.2X:%.2X%.2X:%.2X%.2X:%.2X%.2X:%.2X%.2X:%.2X%.2X:%.2X%.2X\r\n",gWIZNETINFO.gw6[0],gWIZNETINFO.gw6[1],gWIZNETINFO.gw6[2],gWIZNETINFO.gw6[3],\
									gWIZNETINFO.gw6[4],gWIZNETINFO.gw6[5],gWIZNETINFO.gw6[6],gWIZNETINFO.gw6[7],\
									gWIZNETINFO.gw6[8],gWIZNETINFO.gw6[9],gWIZNETINFO.gw6[10],gWIZNETINFO.gw6[11],\
									gWIZNETINFO.gw6[12],gWIZNETINFO.gw6[13],gWIZNETINFO.gw6[14],gWIZNETINFO.gw6[15]);
#else
	wizchip_getnetinfo(&gWIZNETINFO1);
		printf("Mac address: %02x:%02x:%02x:%02x:%02x:%02x\r\n",gWIZNETINFO1.mac[0],gWIZNETINFO1.mac[1],gWIZNETINFO1.mac[2],gWIZNETINFO1.mac[3],gWIZNETINFO1.mac[4],gWIZNETINFO1.mac[5]);
		printf("IP address : %d.%d.%d.%d\r\n",gWIZNETINFO1.ip[0],gWIZNETINFO1.ip[1],gWIZNETINFO1.ip[2],gWIZNETINFO1.ip[3]);
		printf("SN Mask	   : %d.%d.%d.%d\r\n",gWIZNETINFO1.sn[0],gWIZNETINFO1.sn[1],gWIZNETINFO1.sn[2],gWIZNETINFO1.sn[3]);
		printf("Gate way   : %d.%d.%d.%d\r\n",gWIZNETINFO1.gw[0],gWIZNETINFO1.gw[1],gWIZNETINFO1.gw[2],gWIZNETINFO1.gw[3]);
		//printf("DNS Server : %d.%d.%d.%d\r\n",gWIZNETINFO1.dns[0],gWIZNETINFO1.dns[1],gWIZNETINFO1.dns[2],gWIZNETINFO1.dns[3]);
		printf("LLA  : %.2X%.2X:%.2X%.2X:%.2X%.2X:%.2X%.2X:%.2X%.2X:%.2X%.2X:%.2X%.2X:%.2X%.2X\r\n",gWIZNETINFO1.lla[0],gWIZNETINFO1.lla[1],gWIZNETINFO1.lla[2],gWIZNETINFO1.lla[3],\
										gWIZNETINFO1.lla[4],gWIZNETINFO1.lla[5],gWIZNETINFO1.lla[6],gWIZNETINFO1.lla[7],\
										gWIZNETINFO1.lla[8],gWIZNETINFO1.lla[9],gWIZNETINFO1.lla[10],gWIZNETINFO1.lla[11],\
										gWIZNETINFO1.lla[12],gWIZNETINFO1.lla[13],gWIZNETINFO1.lla[14],gWIZNETINFO1.lla[15]);
		printf("GUA  : %.2X%.2X:%.2X%.2X:%.2X%.2X:%.2X%.2X:%.2X%.2X:%.2X%.2X:%.2X%.2X:%.2X%.2X\r\n",gWIZNETINFO1.gua[0],gWIZNETINFO1.gua[1],gWIZNETINFO1.gua[2],gWIZNETINFO1.gua[3],\
										gWIZNETINFO1.gua[4],gWIZNETINFO1.gua[5],gWIZNETINFO1.gua[6],gWIZNETINFO1.gua[7],\
										gWIZNETINFO1.gua[8],gWIZNETINFO1.gua[9],gWIZNETINFO1.gua[10],gWIZNETINFO1.gua[11],\
										gWIZNETINFO1.gua[12],gWIZNETINFO1.gua[13],gWIZNETINFO1.gua[14],gWIZNETINFO1.gua[15]);
		printf("SN6  : %.2X%.2X:%.2X%.2X:%.2X%.2X:%.2X%.2X:%.2X%.2X:%.2X%.2X:%.2X%.2X:%.2X%.2X\r\n",gWIZNETINFO1.sn6[0],gWIZNETINFO1.sn6[1],gWIZNETINFO1.sn6[2],gWIZNETINFO1.sn6[3],\
										gWIZNETINFO1.sn6[4],gWIZNETINFO1.sn6[5],gWIZNETINFO1.sn6[6],gWIZNETINFO1.sn6[7],\
										gWIZNETINFO1.sn6[8],gWIZNETINFO1.sn6[9],gWIZNETINFO1.sn6[10],gWIZNETINFO1.sn6[11],\
										gWIZNETINFO1.sn6[12],gWIZNETINFO1.sn6[13],gWIZNETINFO1.sn6[14],gWIZNETINFO1.sn6[15]);
		printf("GW6  : %.2X%.2X:%.2X%.2X:%.2X%.2X:%.2X%.2X:%.2X%.2X:%.2X%.2X:%.2X%.2X:%.2X%.2X\r\n",gWIZNETINFO1.gw6[0],gWIZNETINFO1.gw6[1],gWIZNETINFO1.gw6[2],gWIZNETINFO1.gw6[3],\
										gWIZNETINFO1.gw6[4],gWIZNETINFO1.gw6[5],gWIZNETINFO1.gw6[6],gWIZNETINFO1.gw6[7],\
										gWIZNETINFO1.gw6[8],gWIZNETINFO1.gw6[9],gWIZNETINFO1.gw6[10],gWIZNETINFO1.gw6[11],\
										gWIZNETINFO1.gw6[12],gWIZNETINFO1.gw6[13],gWIZNETINFO1.gw6[14],gWIZNETINFO1.gw6[15]);
#endif
}

/* USER CODE END 4 */

void Error_Handler(void)
{
  __disable_irq();
  while (1)
  {
  }
}
